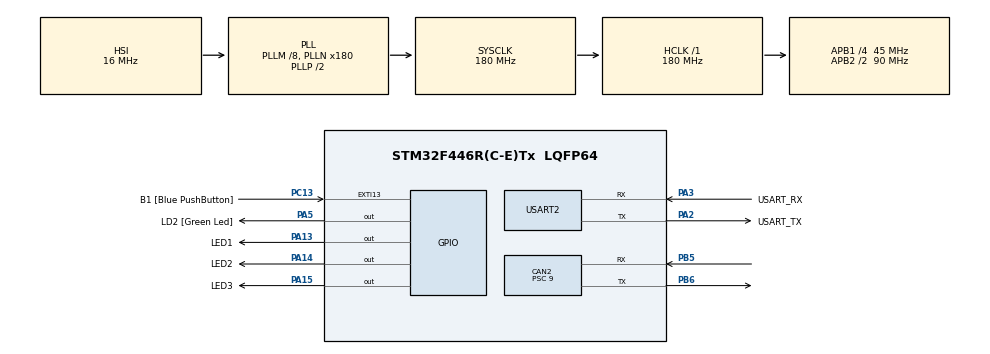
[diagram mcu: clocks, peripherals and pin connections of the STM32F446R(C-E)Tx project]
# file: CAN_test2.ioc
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CAN2.BS1=CAN_BS1_4TQ
CAN2.BS2=CAN_BS2_5TQ
CAN2.CalculateBaudRate=500000
CAN2.CalculateTimeBit=2000
CAN2.CalculateTimeQuantum=200.0
CAN2.Prescaler=9
CAN2.SJW=CAN_SJW_4TQ
Mcu.Family=STM32F4
Mcu.Name=STM32F446R(C-E)Tx
Mcu.Package=LQFP64
NVIC.CAN2_RX0_IRQn=true\:0\:0\:false\:false\:true\:true\:true\:true
NVIC.CAN2_RX1_IRQn=true\:0\:0\:false\:false\:true\:true\:true\:true
NVIC.CAN2_TX_IRQn=true\:0\:0\:false\:false\:true\:true\:true\:true
NVIC.PriorityGroup=NVIC_PRIORITYGROUP_0
PA13.GPIO_Label=LED1
PA13.Signal=GPIO_Output
PA14.GPIO_Label=LED2
PA14.Signal=GPIO_Output
PA15.GPIO_Label=LED3
PA15.Signal=GPIO_Output
PA2.GPIO_Label=USART_TX
PA2.Mode=Asynchronous
PA2.Signal=USART2_TX
PA3.GPIO_Label=USART_RX
PA3.Mode=Asynchronous
PA3.Signal=USART2_RX
PA5.GPIO_Label=LD2 [Green Led]
PA5.Signal=GPIO_Output
PB3.GPIO_Label=SWO
PB3.Signal=SYS_JTDO-SWO
PB5.Mode=CAN_Activate
PB5.Signal=CAN2_RX
PB6.Mode=CAN_Activate
PB6.Signal=CAN2_TX
PC13.GPIO_Label=B1 [Blue PushButton]
PC13.GPIO_ModeDefaultEXTI=GPIO_MODE_IT_FALLING
PC13.Signal=GPXTI13
PC14-OSC32_IN.Mode=LSE-External-Oscillator
PC14-OSC32_IN.Signal=RCC_OSC32_IN
PC15-OSC32_OUT.Mode=LSE-External-Oscillator
PC15-OSC32_OUT.Signal=RCC_OSC32_OUT
PH0-OSC_IN.Mode=HSE-External-Oscillator
PH0-OSC_IN.Signal=RCC_OSC_IN
PH1-OSC_OUT.Mode=HSE-External-Oscillator
PH1-OSC_OUT.Signal=RCC_OSC_OUT
ProjectManager.HeapSize=0x200
ProjectManager.StackSize=0x400
ProjectManager.TargetToolchain=STM32CubeIDE
RCC.48MHZClocksFreq_Value=84000000
RCC.AHBFreq_Value=180000000
RCC.APB1CLKDivider=RCC_HCLK_DIV4
RCC.APB1Freq_Value=45000000
RCC.APB1TimFreq_Value=90000000
RCC.APB2CLKDivider=RCC_HCLK_DIV2
RCC.APB2Freq_Value=90000000
RCC.APB2TimFreq_Value=180000000
RCC.CortexFreq_Value=180000000
RCC.FLatency-AdvancedSettings=FLASH_LATENCY_5
RCC.HCLKFreq_Value=180000000
RCC.HSE_VALUE=8000000
RCC.HSI_VALUE=16000000
RCC.PLLM=8
RCC.PLLN=180
RCC.SYSCLKFreq_VALUE=180000000
RCC.SYSCLKSource=RCC_SYSCLKSOURCE_PLLCLK
RCC.USBFreq_Value=180000000
RCC.VCOOutputFreq_Value=360000000
USART2.VirtualMode=VM_ASYNC
board=NUCLEO-F446RE

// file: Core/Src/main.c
/* USER CODE BEGIN Header */
/**
  ******************************************************************************
  * @file           : main.c
  * @brief          : Main program body
  ******************************************************************************
  * @attention
  *
  * Copyright (c) 2023 STMicroelectronics.
  * All rights reserved.
  *
  * This software is licensed under terms that can be found in the LICENSE file
  * in the root directory of this software component.
  * If no LICENSE file comes with this software, it is provided AS-IS.
  *
  ******************************************************************************
  */
/* USER CODE END Header */
#include "main.h"

/* USER CODE BEGIN Includes */
#include <stdio.h>
/* USER CODE END Includes */

CAN_HandleTypeDef hcan2;

UART_HandleTypeDef huart2;

void SystemClock_Config(void);
static void MX_GPIO_Init(void);
static void MX_USART2_UART_Init(void);
static void MX_CAN2_Init(void);

/* USER CODE BEGIN 0 */
void HAL_CAN_RxFifo0MsgPendingCallback(CAN_HandleTypeDef *hcan);
/* USER CODE END 0 */

int main(void)
{
  /* USER CODE BEGIN 1 */
	setbuf(stdout, NULL);
  /* USER CODE END 1 */

  /* MCU Configuration--------------------------------------------------------*/

  /* Reset of all peripherals, Initializes the Flash interface and the Systick. */
  HAL_Init();

  /* Configure the system clock */
  SystemClock_Config();

  /* Initialize all configured peripherals */
  MX_GPIO_Init();
  MX_USART2_UART_Init();
  MX_CAN2_Init();
  /* USER CODE BEGIN 2 */
	CAN_FilterTypeDef filter;
	  filter.FilterIdHigh         = 0;                        // フィルターID(上位16ビット)
	  filter.FilterIdLow          = 0;                        // フィルターID(下位16ビット)
	  filter.FilterMaskIdHigh     = 0;                        // フィルターマスク(上位16ビット)
	  filter.FilterMaskIdLow      = 0;                        // フィルターマスク(下位16ビット)
	  filter.FilterScale          = CAN_FILTERSCALE_32BIT;    // フィルタースケール
	  filter.FilterFIFOAssignment = CAN_FILTER_FIFO0;         // フィルターに割り当てるFIFO
	  filter.FilterBank           = 14;                        // フィルターバンクNo
	  filter.FilterMode           = CAN_FILTERMODE_IDMASK;    // フィルターモード
	  filter.SlaveStartFilterBank = 14;                       // スレーブCANの開始フィルターバンクNo
	  filter.FilterActivation     = ENABLE;                   // フィルター無効／有効

  HAL_CAN_ConfigFilter(&hcan2, &filter);
  printf("Hello,World\n");

  HAL_CAN_Start(&hcan2);
  // 割り込み有効
  HAL_CAN_ActivateNotification(&hcan2, CAN_IT_RX_FIFO0_MSG_PENDING);
  /* USER CODE END 2 */

  /* Infinite loop */
  while (1)
  {
	  HAL_GPIO_WritePin(GPIOA,LED1_Pin,GPIO_PIN_RESET);
	  HAL_GPIO_WritePin(GPIOA,LED2_Pin,GPIO_PIN_RESET);
	  HAL_GPIO_WritePin(GPIOA,LED3_Pin,GPIO_PIN_RESET);
	  printf("OK");
  }
}

void SystemClock_Config(void)
{
  RCC_OscInitTypeDef RCC_OscInitStruct = {0};
  RCC_ClkInitTypeDef RCC_ClkInitStruct = {0};

  /** Configure the main internal regulator output voltage
  */
  __HAL_RCC_PWR_CLK_ENABLE();
  __HAL_PWR_VOLTAGESCALING_CONFIG(PWR_REGULATOR_VOLTAGE_SCALE1);

  /** Initializes the RCC Oscillators according to the specified parameters
  * in the RCC_OscInitTypeDef structure.
  */
  RCC_OscInitStruct.OscillatorType = RCC_OSCILLATORTYPE_HSI;
  RCC_OscInitStruct.HSIState = RCC_HSI_ON;
  RCC_OscInitStruct.HSICalibrationValue = RCC_HSICALIBRATION_DEFAULT;
  RCC_OscInitStruct.PLL.PLLState = RCC_PLL_ON;
  RCC_OscInitStruct.PLL.PLLSource = RCC_PLLSOURCE_HSI;
  RCC_OscInitStruct.PLL.PLLM = 8;
  RCC_OscInitStruct.PLL.PLLN = 180;
  RCC_OscInitStruct.PLL.PLLP = RCC_PLLP_DIV2;
  RCC_OscInitStruct.PLL.PLLQ = 2;
  RCC_OscInitStruct.PLL.PLLR = 2;
  if (HAL_RCC_OscConfig(&RCC_OscInitStruct) != HAL_OK)
  {
    Error_Handler();
  }

  /** Activate the Over-Drive mode
  */
  if (HAL_PWREx_EnableOverDrive() != HAL_OK)
  {
    Error_Handler();
  }

  /** Initializes the CPU, AHB and APB buses clocks
  */
  RCC_ClkInitStruct.ClockType = RCC_CLOCKTYPE_HCLK|RCC_CLOCKTYPE_SYSCLK
                              |RCC_CLOCKTYPE_PCLK1|RCC_CLOCKTYPE_PCLK2;
  RCC_ClkInitStruct.SYSCLKSource = RCC_SYSCLKSOURCE_PLLCLK;
  RCC_ClkInitStruct.AHBCLKDivider = RCC_SYSCLK_DIV1;
  RCC_ClkInitStruct.APB1CLKDivider = RCC_HCLK_DIV4;
  RCC_ClkInitStruct.APB2CLKDivider = RCC_HCLK_DIV2;

  if (HAL_RCC_ClockConfig(&RCC_ClkInitStruct, FLASH_LATENCY_5) != HAL_OK)
  {
    Error_Handler();
  }
}

static void MX_CAN2_Init(void)
{

  hcan2.Instance = CAN2;
  hcan2.Init.Prescaler = 9;
  hcan2.Init.Mode = CAN_MODE_NORMAL;
  hcan2.Init.SyncJumpWidth = CAN_SJW_4TQ;
  hcan2.Init.TimeSeg1 = CAN_BS1_4TQ;
  hcan2.Init.TimeSeg2 = CAN_BS2_5TQ;
  hcan2.Init.TimeTriggeredMode = DISABLE;
  hcan2.Init.AutoBusOff = DISABLE;
  hcan2.Init.AutoWakeUp = DISABLE;
  hcan2.Init.AutoRetransmission = DISABLE;
  hcan2.Init.ReceiveFifoLocked = DISABLE;
  hcan2.Init.TransmitFifoPriority = DISABLE;
  if (HAL_CAN_Init(&hcan2) != HAL_OK)
  {
    Error_Handler();
  }

}

static void MX_USART2_UART_Init(void)
{

  huart2.Instance = USART2;
  huart2.Init.BaudRate = 115200;
  huart2.Init.WordLength = UART_WORDLENGTH_8B;
  huart2.Init.StopBits = UART_STOPBITS_1;
  huart2.Init.Parity = UART_PARITY_NONE;
  huart2.Init.Mode = UART_MODE_TX_RX;
  huart2.Init.HwFlowCtl = UART_HWCONTROL_NONE;
  huart2.Init.OverSampling = UART_OVERSAMPLING_16;
  if (HAL_UART_Init(&huart2) != HAL_OK)
  {
    Error_Handler();
  }

}

static void MX_GPIO_Init(void)
{
  GPIO_InitTypeDef GPIO_InitStruct = {0};

  /* GPIO Ports Clock Enable */
  __HAL_RCC_GPIOC_CLK_ENABLE();
  __HAL_RCC_GPIOH_CLK_ENABLE();
  __HAL_RCC_GPIOA_CLK_ENABLE();
  __HAL_RCC_GPIOB_CLK_ENABLE();

  /*Configure GPIO pin Output Level */
  HAL_GPIO_WritePin(GPIOA, LD2_Pin|LED1_Pin|LED2_Pin|LED3_Pin, GPIO_PIN_RESET);

  /*Configure GPIO pin : B1_Pin */
  GPIO_InitStruct.Pin = B1_Pin;
  GPIO_InitStruct.Mode = GPIO_MODE_IT_FALLING;
  GPIO_InitStruct.Pull = GPIO_NOPULL;
  HAL_GPIO_Init(B1_GPIO_Port, &GPIO_InitStruct);

  /*Configure GPIO pins : LD2_Pin LED1_Pin LED2_Pin LED3_Pin */
  GPIO_InitStruct.Pin = LD2_Pin|LED1_Pin|LED2_Pin|LED3_Pin;
  GPIO_InitStruct.Mode = GPIO_MODE_OUTPUT_PP;
  GPIO_InitStruct.Pull = GPIO_NOPULL;
  GPIO_InitStruct.Speed = GPIO_SPEED_FREQ_LOW;
  HAL_GPIO_Init(GPIOA, &GPIO_InitStruct);

}

/* USER CODE BEGIN 4 */

  uint32_t id;
  uint32_t dlc;
  uint8_t data[8];

  void HAL_CAN_RxFifo0MsgPendingCallback(CAN_HandleTypeDef *hcan)
  {
	  uint8_t RxData[8];
	  CAN_RxHeaderTypeDef RxHeader;

	  if (HAL_CAN_GetRxMessage(hcan, CAN_RX_FIFO0, &RxHeader, RxData) == HAL_OK)
	  {
		  id = (RxHeader.IDE == CAN_ID_STD)? RxHeader.StdId : RxHeader.ExtId;     // ID
		  dlc = RxHeader.DLC;                                                     // DLC
		  data[0] = RxData[0];                                                    // Data
		  data[1] = RxData[1];
		  data[2] = RxData[2];
		  data[3] = RxData[3];
		  data[4] = RxData[4];
		  data[5] = RxData[5];
		  data[6] = RxData[6];
		  data[7] = RxData[7];

		  printf("%d,%d,%d,%d,%d,%d,%d,%d\n",data[0],data[1],data[2],data[3],data[4],data[5],data[6],data[7]);

	  }
  }

  int _write(int file, char *ptr, int len)
  {
    HAL_UART_Transmit(&huart2,(uint8_t *)ptr,len,10);
    return len;
  }

/* USER CODE END 4 */

void Error_Handler(void)
{
  __disable_irq();
  while (1)
  {
  }
}
